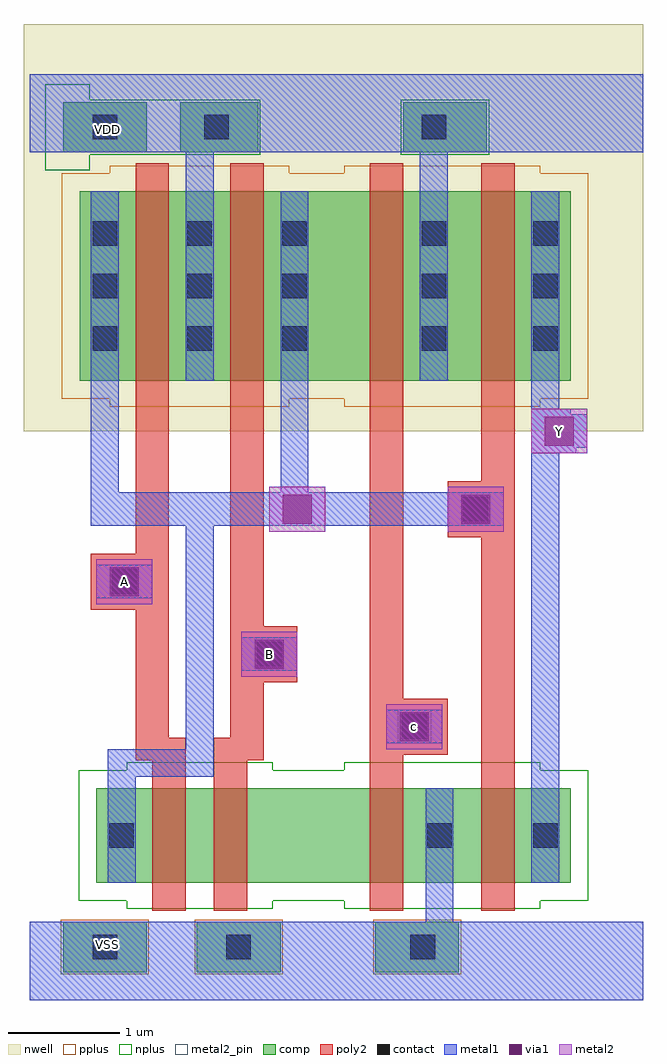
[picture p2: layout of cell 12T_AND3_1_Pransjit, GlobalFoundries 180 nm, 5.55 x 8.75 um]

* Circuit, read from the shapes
.subckt 12T_AND3_1_Pransjit A B VDD VSS Y c
XM1 n1 A n2 VSS nfet_03v3 w=0.85u l=0.3u
XM2 n3 B n1 VSS nfet_03v3 w=0.85u l=0.3u
XM3 VSS c n3 VSS nfet_03v3 w=0.85u l=0.3u
XM4 Y n2 VSS VSS nfet_03v3 w=0.85u l=0.3u
XM5 VDD A n2 VDD pfet_03v3 w=1.7u l=0.3u
XM6 n2 B VDD VDD pfet_03v3 w=1.7u l=0.3u
XM7 VDD c n2 VDD pfet_03v3 w=1.7u l=0.3u
XM8 Y n2 VDD VDD pfet_03v3 w=1.7u l=0.3u
.ends

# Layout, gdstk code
import gdstk
lib = gdstk.Library(unit=1e-6, precision=1e-09)
def R(c, l, rs):  # rectangles x0, y0, x1, y1
    for r in rs: c.add(gdstk.rectangle(r[:2], r[2:], *l))
def A(c, l, x, y, w, h, nx, ny, dx, dy):  # array of equal rectangles
    R(c, l, [(x+i*dx, y+j*dy, x+i*dx+w, y+j*dy+h) for i in range(nx) for j in range(ny)])
nwell = (21, 0)
comp = (22, 0)
poly2 = (30, 0)
pplus = (31, 0)
nplus = (32, 0)
contact = (33, 0)
metal1 = (34, 0)
via1 = (35, 0)
metal2 = (36, 0)
metal2_pin = (36, 10)

c_12t_and3_1_pransjit = lib.new_cell('12T_AND3_1_Pransjit')
R(c_12t_and3_1_pransjit, nwell, [(-0.05,5.1,5.5,8.75)])
R(c_12t_and3_1_pransjit, comp, [(0.3,0.25,1.05,0.7), (1.5,0.25,2.25,0.7), (3.1,0.25,3.85,0.7), (0.6,1.05,4.85,1.9), (0.45,5.55,4.85,7.25), (0.3,7.6,1.05,8.05), (1.35,7.6,2.05,8.05), (3.35,7.6,4.1,8.05)])
R(c_12t_and3_1_pransjit, poly2, [(1.1,0.8,1.4,2.15), (1.65,0.8,1.95,2.15), (3.05,0.8,3.35,2.2), (4.05,0.8,4.35,4.15), (0.95,2.15,1.4,2.35), (1.65,2.15,2.1,2.35), (3.05,2.2,3.75,2.7), (0.95,2.35,1.25,3.5), (1.8,2.35,2.1,2.85), (3.05,2.7,3.35,7.5), (1.8,2.85,2.4,3.35), (1.8,3.35,2.1,7.5), (0.55,3.5,1.25,4), (0.95,4,1.25,7.5), (3.75,4.15,4.35,4.65), (4.05,4.65,4.35,7.5)])
R(c_12t_and3_1_pransjit, pplus, [(0.28,0.23,1.07,0.72), (1.48,0.23,2.27,0.72), (3.08,0.23,3.87,0.72), (0.72,5.32,2.33,5.39), (2.82,5.32,4.58,5.39), (0.29,5.39,5.01,7.41), (0.72,7.41,2.33,7.48), (2.82,7.41,4.58,7.48)])
R(c_12t_and3_1_pransjit, nplus, [(0.87,0.82,2.18,0.89), (2.82,0.82,4.58,0.89), (0.44,0.89,5.01,2.06), (0.87,2.06,2.18,2.13), (2.82,2.06,4.58,2.13), (0.14,7.44,0.54,7.58), (0.14,7.58,2.07,8.07), (3.33,7.58,4.12,8.07), (0.14,8.07,0.54,8.21)])
A(c_12t_and3_1_pransjit, contact, 0.565, 5.82, 0.22, 0.22, 3, 3, 0.85, 0.47)
A(c_12t_and3_1_pransjit, contact, 3.515, 5.82, 0.22, 0.22, 1, 3, 0, 0.47)
A(c_12t_and3_1_pransjit, contact, 4.515, 5.82, 0.22, 0.22, 1, 3, 0, 0.47)
R(c_12t_and3_1_pransjit, contact, [(0.565,0.365,0.785,0.585), (1.765,0.365,1.985,0.585), (3.415,0.365,3.635,0.585), (0.715,1.365,0.935,1.585), (3.565,1.365,3.785,1.585), (4.515,1.365,4.735,1.585), (3.34,2.34,3.56,2.56), (2.04,2.99,2.26,3.21), (0.74,3.64,0.96,3.86), (3.89,4.29,4.11,4.51), (0.565,7.715,0.785,7.935), (1.565,7.715,1.785,7.935), (3.515,7.715,3.735,7.935)])
R(c_12t_and3_1_pransjit, metal1, [(0,0,5.5,0.7), (3.55,0.7,3.8,1.9), (0.7,1.05,0.95,2), (4.5,1.05,4.75,4.9), (0.7,2,1.65,2.25), (1.4,2.25,1.65,4.25), (3.2,2.3,3.7,2.6), (1.9,2.95,2.4,3.25), (0.6,3.6,1.1,3.9), (0.55,4.25,4.25,4.55), (0.55,4.55,0.8,7.25), (2.25,4.55,2.5,7.25), (4.5,4.9,4.9,4.95), (4.5,4.95,5,5.25), (4.5,5.25,4.85,5.3), (4.5,5.3,4.75,7.25), (1.4,5.55,1.65,7.6), (3.5,5.55,3.75,7.6), (0,7.6,5.5,8.3)])
R(c_12t_and3_1_pransjit, via1, [(3.32,2.32,3.58,2.58), (2.02,2.97,2.28,3.23), (0.72,3.62,0.98,3.88), (2.27,4.27,2.53,4.53), (3.87,4.27,4.13,4.53), (4.62,4.97,4.88,5.23)])
R(c_12t_and3_1_pransjit, metal2, [(3.2,2.25,3.7,2.65), (1.9,2.9,2.4,3.3), (0.6,3.55,1.1,3.95), (2.15,4.2,2.65,4.6), (3.75,4.2,4.25,4.6), (4.5,4.9,5,5.3)])
R(c_12t_and3_1_pransjit, metal2_pin, [(3.3,2.3,3.6,2.6)])
c_12t_and3_1_pransjit.add(gdstk.Label('A', (0.85,3.75), layer=36, texttype=10))
c_12t_and3_1_pransjit.add(gdstk.Label('B', (2.15,3.1), layer=36, texttype=10))
c_12t_and3_1_pransjit.add(gdstk.Label('Y', (4.75,5.1), layer=34, texttype=10))
c_12t_and3_1_pransjit.add(gdstk.Label('VDD', (0.7,7.8), layer=22, texttype=0))
c_12t_and3_1_pransjit.add(gdstk.Label('VSS', (0.7,0.5), layer=22, texttype=0))
c_12t_and3_1_pransjit.add(gdstk.Label('c', (3.45,2.45), layer=36, texttype=10))

lib.write_gds('12T_AND3_1_Pransjit.gds')
